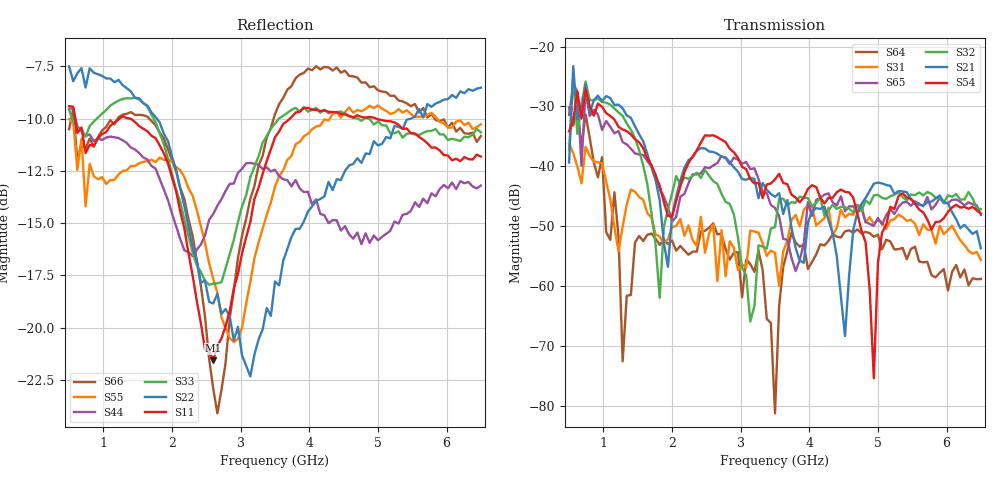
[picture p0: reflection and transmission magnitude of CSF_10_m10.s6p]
!Keysight Technologies,M9804A,MY58100912,A.14.10.03
!Date: Thursday, April 27, 2023 10:28:33
!Correction: S11(C  6-Port  )
!S12(C  6-Port  )
!S13(C  6-Port  )
!S14(C  6-Port  )
!S15(C  6-Port  )
!S16(C  6-Port  )
!S21(C  6-Port  )
!S22(C  6-Port  )
!S23(C  6-Port  )
!S24(C  6-Port  )
!S25(C  6-Port  )
!S26(C  6-Port  )
!S31(C  6-Port  )
!S32(C  6-Port  )
!S33(C  6-Port  )
!S34(C  6-Port  )
!S35(C  6-Port  )
!S36(C  6-Port  )
!S41(C  6-Port  )
!S42(C  6-Port  )
!S43(C  6-Port  )
!S44(C  6-Port  )
!S45(C  6-Port  )
!S46(C  6-Port  )
!S51(C  6-Port  )
!S52(C  6-Port  )
!S53(C  6-Port  )
!S54(C  6-Port  )
!S55(C  6-Port  )
!S56(C  6-Port  )
!S61(C  6-Port  )
!S62(C  6-Port  )
!S63(C  6-Port  )
!S64(C  6-Port  )
!S65(C  6-Port  )
!S66(C  6-Port  )
!S6P File: Measurement: :
# Hz S  RI  R 50
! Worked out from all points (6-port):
!   101 points, 500 MHz to 6.5 GHz, reference 50 ohm
!   strongest paths, dB at 500 MHz, 2 GHz, 3.5 GHz, 5 GHz, 6.5 GHz:
!     S54: -34.2, -48.5, -42.2, -56.2, -47.9
!     S21: -39.4, -48.3, -45.1, -42.7, -53.7
!     S32: -37.3, -44.6, -50.2, -44.8, -47.2
!     S65: -31.4, -49.2, -47.0, -48.6, -48.1
!     S31: -36.2, -50.2, -54.5, -49.0, -55.7
!     S64: -30.2, -52.4, -81.3, -51.4, -58.8
!   lowest |S11| = -21.6 dB at 2.6 GHz (marker M1), VSWR 1.18, Z = 42.5 + j2.09 ohm
!   |S11| at or under -10 dB: 587.1 MHz to 1.238 GHz (650.4 MHz wide, 71.3 % of centre); 1.381 GHz to 3.717 GHz (2.336 GHz wide, 91.6 % of centre); 4.974 GHz to end of sweep
